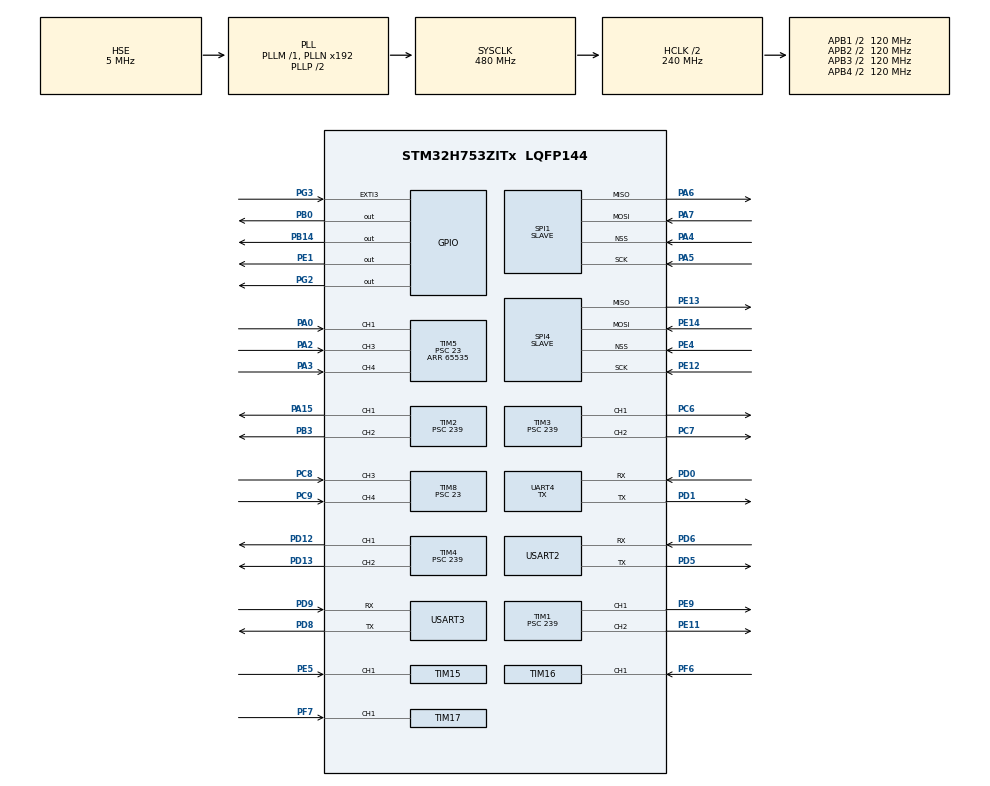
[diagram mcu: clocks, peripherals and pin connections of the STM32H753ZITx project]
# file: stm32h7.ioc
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CORTEX_M7.CPU_DCache=Disabled
CORTEX_M7.CPU_ICache=Disabled
CORTEX_M7.MPU_Control=__NULL
CORTEX_M7.default_mode_Activation=1
Dma.Request0=SPI1_RX
Dma.Request1=SPI1_TX
Dma.Request10=TIM16_CH1
Dma.Request11=TIM17_CH1
Dma.Request2=SPI4_RX
Dma.Request3=SPI4_TX
Dma.Request4=TIM5_CH1
Dma.Request5=TIM5_CH3
Dma.Request6=TIM5_CH4
Dma.Request7=TIM8_CH3
Dma.Request8=TIM8_CH4
Dma.Request9=TIM15_CH1
Dma.SPI1_RX.0.Direction=DMA_PERIPH_TO_MEMORY
Dma.SPI1_RX.0.EventEnable=DISABLE
Dma.SPI1_RX.0.FIFOMode=DMA_FIFOMODE_DISABLE
Dma.SPI1_RX.0.Instance=DMA1_Stream0
Dma.SPI1_RX.0.MemDataAlignment=DMA_MDATAALIGN_BYTE
Dma.SPI1_RX.0.MemInc=DMA_MINC_ENABLE
Dma.SPI1_RX.0.Mode=DMA_NORMAL
Dma.SPI1_RX.0.PeriphDataAlignment=DMA_PDATAALIGN_BYTE
Dma.SPI1_RX.0.PeriphInc=DMA_PINC_DISABLE
Dma.SPI1_RX.0.Polarity=HAL_DMAMUX_REQ_GEN_RISING
Dma.SPI1_RX.0.Priority=DMA_PRIORITY_LOW
Dma.SPI1_RX.0.RequestNumber=1
Dma.SPI1_RX.0.SignalID=NONE
Dma.SPI1_RX.0.SyncEnable=DISABLE
Dma.SPI1_RX.0.SyncPolarity=HAL_DMAMUX_SYNC_NO_EVENT
Dma.SPI1_RX.0.SyncRequestNumber=1
Dma.SPI1_RX.0.SyncSignalID=NONE
Dma.SPI1_TX.1.Direction=DMA_MEMORY_TO_PERIPH
Dma.SPI1_TX.1.EventEnable=DISABLE
Dma.SPI1_TX.1.FIFOMode=DMA_FIFOMODE_DISABLE
Dma.SPI1_TX.1.Instance=DMA1_Stream1
Dma.SPI1_TX.1.MemDataAlignment=DMA_MDATAALIGN_BYTE
Dma.SPI1_TX.1.MemInc=DMA_MINC_ENABLE
Dma.SPI1_TX.1.Mode=DMA_NORMAL
Dma.SPI1_TX.1.PeriphDataAlignment=DMA_PDATAALIGN_BYTE
Dma.SPI1_TX.1.PeriphInc=DMA_PINC_DISABLE
Dma.SPI1_TX.1.Polarity=HAL_DMAMUX_REQ_GEN_RISING
Dma.SPI1_TX.1.Priority=DMA_PRIORITY_LOW
Dma.SPI1_TX.1.RequestNumber=1
Dma.SPI1_TX.1.SignalID=NONE
Dma.SPI1_TX.1.SyncEnable=DISABLE
Dma.SPI1_TX.1.SyncPolarity=HAL_DMAMUX_SYNC_NO_EVENT
Dma.SPI1_TX.1.SyncRequestNumber=1
Dma.SPI1_TX.1.SyncSignalID=NONE
Dma.SPI4_RX.2.Direction=DMA_PERIPH_TO_MEMORY
Dma.SPI4_RX.2.EventEnable=DISABLE
Dma.SPI4_RX.2.FIFOMode=DMA_FIFOMODE_DISABLE
Dma.SPI4_RX.2.Instance=DMA1_Stream2
Dma.SPI4_RX.2.MemDataAlignment=DMA_MDATAALIGN_BYTE
Dma.SPI4_RX.2.MemInc=DMA_MINC_ENABLE
Dma.SPI4_RX.2.Mode=DMA_NORMAL
Dma.SPI4_RX.2.PeriphDataAlignment=DMA_PDATAALIGN_BYTE
Dma.SPI4_RX.2.PeriphInc=DMA_PINC_DISABLE
Dma.SPI4_RX.2.Polarity=HAL_DMAMUX_REQ_GEN_RISING
Dma.SPI4_RX.2.Priority=DMA_PRIORITY_LOW
Dma.SPI4_RX.2.RequestNumber=1
Dma.SPI4_RX.2.SignalID=NONE
Dma.SPI4_RX.2.SyncEnable=DISABLE
Dma.SPI4_RX.2.SyncPolarity=HAL_DMAMUX_SYNC_NO_EVENT
Dma.SPI4_RX.2.SyncRequestNumber=1
Dma.SPI4_RX.2.SyncSignalID=NONE
Dma.SPI4_TX.3.Direction=DMA_MEMORY_TO_PERIPH
Dma.SPI4_TX.3.EventEnable=DISABLE
Dma.SPI4_TX.3.FIFOMode=DMA_FIFOMODE_DISABLE
Dma.SPI4_TX.3.Instance=DMA1_Stream3
Dma.SPI4_TX.3.MemDataAlignment=DMA_MDATAALIGN_BYTE
Dma.SPI4_TX.3.MemInc=DMA_MINC_ENABLE
Dma.SPI4_TX.3.Mode=DMA_NORMAL
Dma.SPI4_TX.3.PeriphDataAlignment=DMA_PDATAALIGN_BYTE
Dma.SPI4_TX.3.PeriphInc=DMA_PINC_DISABLE
Dma.SPI4_TX.3.Polarity=HAL_DMAMUX_REQ_GEN_RISING
Dma.SPI4_TX.3.Priority=DMA_PRIORITY_LOW
Dma.SPI4_TX.3.RequestNumber=1
Dma.SPI4_TX.3.SignalID=NONE
Dma.SPI4_TX.3.SyncEnable=DISABLE
Dma.SPI4_TX.3.SyncPolarity=HAL_DMAMUX_SYNC_NO_EVENT
Dma.SPI4_TX.3.SyncRequestNumber=1
Dma.SPI4_TX.3.SyncSignalID=NONE
Dma.TIM15_CH1.9.Direction=DMA_PERIPH_TO_MEMORY
Dma.TIM15_CH1.9.EventEnable=DISABLE
Dma.TIM15_CH1.9.FIFOMode=DMA_FIFOMODE_DISABLE
Dma.TIM15_CH1.9.Instance=DMA2_Stream5
Dma.TIM15_CH1.9.MemDataAlignment=DMA_MDATAALIGN_WORD
Dma.TIM15_CH1.9.MemInc=DMA_MINC_ENABLE
Dma.TIM15_CH1.9.Mode=DMA_CIRCULAR
Dma.TIM15_CH1.9.PeriphDataAlignment=DMA_PDATAALIGN_WORD
Dma.TIM15_CH1.9.PeriphInc=DMA_PINC_DISABLE
Dma.TIM15_CH1.9.Polarity=HAL_DMAMUX_REQ_GEN_RISING
Dma.TIM15_CH1.9.Priority=DMA_PRIORITY_HIGH
Dma.TIM15_CH1.9.RequestNumber=1
Dma.TIM15_CH1.9.SignalID=NONE
Dma.TIM15_CH1.9.SyncEnable=DISABLE
Dma.TIM15_CH1.9.SyncPolarity=HAL_DMAMUX_SYNC_NO_EVENT
Dma.TIM15_CH1.9.SyncRequestNumber=1
Dma.TIM15_CH1.9.SyncSignalID=NONE
Dma.TIM16_CH1.10.Direction=DMA_PERIPH_TO_MEMORY
Dma.TIM16_CH1.10.EventEnable=DISABLE
Dma.TIM16_CH1.10.FIFOMode=DMA_FIFOMODE_DISABLE
Dma.TIM16_CH1.10.Instance=DMA2_Stream6
Dma.TIM16_CH1.10.MemDataAlignment=DMA_MDATAALIGN_WORD
Dma.TIM16_CH1.10.MemInc=DMA_MINC_ENABLE
Dma.TIM16_CH1.10.Mode=DMA_CIRCULAR
Dma.TIM16_CH1.10.PeriphDataAlignment=DMA_PDATAALIGN_WORD
Dma.TIM16_CH1.10.PeriphInc=DMA_PINC_DISABLE
Dma.TIM16_CH1.10.Polarity=HAL_DMAMUX_REQ_GEN_RISING
Dma.TIM16_CH1.10.Priority=DMA_PRIORITY_HIGH
Dma.TIM16_CH1.10.RequestNumber=1
Dma.TIM16_CH1.10.SignalID=NONE
Dma.TIM16_CH1.10.SyncEnable=DISABLE
Dma.TIM16_CH1.10.SyncPolarity=HAL_DMAMUX_SYNC_NO_EVENT
Dma.TIM16_CH1.10.SyncRequestNumber=1
Dma.TIM16_CH1.10.SyncSignalID=NONE
Dma.TIM17_CH1.11.Direction=DMA_PERIPH_TO_MEMORY
Dma.TIM17_CH1.11.EventEnable=DISABLE
Dma.TIM17_CH1.11.FIFOMode=DMA_FIFOMODE_DISABLE
Dma.TIM17_CH1.11.Instance=DMA2_Stream7
Dma.TIM17_CH1.11.MemDataAlignment=DMA_MDATAALIGN_WORD
Dma.TIM17_CH1.11.MemInc=DMA_MINC_ENABLE
Dma.TIM17_CH1.11.Mode=DMA_CIRCULAR
Dma.TIM17_CH1.11.PeriphDataAlignment=DMA_PDATAALIGN_WORD
Dma.TIM17_CH1.11.PeriphInc=DMA_PINC_DISABLE
Dma.TIM17_CH1.11.Polarity=HAL_DMAMUX_REQ_GEN_RISING
Dma.TIM17_CH1.11.Priority=DMA_PRIORITY_HIGH
Dma.TIM17_CH1.11.RequestNumber=1
Dma.TIM17_CH1.11.SignalID=NONE
Dma.TIM17_CH1.11.SyncEnable=DISABLE
Dma.TIM17_CH1.11.SyncPolarity=HAL_DMAMUX_SYNC_NO_EVENT
Dma.TIM17_CH1.11.SyncRequestNumber=1
Dma.TIM17_CH1.11.SyncSignalID=NONE
Dma.TIM5_CH1.4.Direction=DMA_PERIPH_TO_MEMORY
Dma.TIM5_CH1.4.EventEnable=DISABLE
Dma.TIM5_CH1.4.FIFOMode=DMA_FIFOMODE_DISABLE
Dma.TIM5_CH1.4.Instance=DMA2_Stream0
Dma.TIM5_CH1.4.MemDataAlignment=DMA_MDATAALIGN_WORD
Dma.TIM5_CH1.4.MemInc=DMA_MINC_ENABLE
Dma.TIM5_CH1.4.Mode=DMA_CIRCULAR
Dma.TIM5_CH1.4.PeriphDataAlignment=DMA_PDATAALIGN_WORD
Dma.TIM5_CH1.4.PeriphInc=DMA_PINC_DISABLE
Dma.TIM5_CH1.4.Polarity=HAL_DMAMUX_REQ_GEN_RISING
Dma.TIM5_CH1.4.Priority=DMA_PRIORITY_HIGH
Dma.TIM5_CH1.4.RequestNumber=1
Dma.TIM5_CH1.4.SignalID=NONE
Dma.TIM5_CH1.4.SyncEnable=DISABLE
Dma.TIM5_CH1.4.SyncPolarity=HAL_DMAMUX_SYNC_NO_EVENT
Dma.TIM5_CH1.4.SyncRequestNumber=1
Dma.TIM5_CH1.4.SyncSignalID=NONE
Dma.TIM5_CH3.5.Direction=DMA_PERIPH_TO_MEMORY
Dma.TIM5_CH3.5.EventEnable=DISABLE
Dma.TIM5_CH3.5.FIFOMode=DMA_FIFOMODE_DISABLE
Dma.TIM5_CH3.5.Instance=DMA2_Stream1
Dma.TIM5_CH3.5.MemDataAlignment=DMA_MDATAALIGN_WORD
Dma.TIM5_CH3.5.MemInc=DMA_MINC_ENABLE
Dma.TIM5_CH3.5.Mode=DMA_CIRCULAR
Dma.TIM5_CH3.5.PeriphDataAlignment=DMA_PDATAALIGN_WORD
Dma.TIM5_CH3.5.PeriphInc=DMA_PINC_DISABLE
Dma.TIM5_CH3.5.Polarity=HAL_DMAMUX_REQ_GEN_RISING
Dma.TIM5_CH3.5.Priority=DMA_PRIORITY_HIGH
Dma.TIM5_CH3.5.RequestNumber=1
Dma.TIM5_CH3.5.SignalID=NONE
Dma.TIM5_CH3.5.SyncEnable=DISABLE
Dma.TIM5_CH3.5.SyncPolarity=HAL_DMAMUX_SYNC_NO_EVENT
Dma.TIM5_CH3.5.SyncRequestNumber=1
Dma.TIM5_CH3.5.SyncSignalID=NONE
Dma.TIM5_CH4.6.Direction=DMA_PERIPH_TO_MEMORY
Dma.TIM5_CH4.6.EventEnable=DISABLE
Dma.TIM5_CH4.6.FIFOMode=DMA_FIFOMODE_DISABLE
Dma.TIM5_CH4.6.Instance=DMA2_Stream2
Dma.TIM5_CH4.6.MemDataAlignment=DMA_MDATAALIGN_WORD
Dma.TIM5_CH4.6.MemInc=DMA_MINC_ENABLE
Dma.TIM5_CH4.6.Mode=DMA_CIRCULAR
Dma.TIM5_CH4.6.PeriphDataAlignment=DMA_PDATAALIGN_WORD
Dma.TIM5_CH4.6.PeriphInc=DMA_PINC_DISABLE
Dma.TIM5_CH4.6.Polarity=HAL_DMAMUX_REQ_GEN_RISING
Dma.TIM5_CH4.6.Priority=DMA_PRIORITY_HIGH
Dma.TIM5_CH4.6.RequestNumber=1
Dma.TIM5_CH4.6.SignalID=NONE
Dma.TIM5_CH4.6.SyncEnable=DISABLE
Dma.TIM5_CH4.6.SyncPolarity=HAL_DMAMUX_SYNC_NO_EVENT
Dma.TIM5_CH4.6.SyncRequestNumber=1
Dma.TIM5_CH4.6.SyncSignalID=NONE
Dma.TIM8_CH3.7.Direction=DMA_PERIPH_TO_MEMORY
Dma.TIM8_CH3.7.EventEnable=DISABLE
Dma.TIM8_CH3.7.FIFOMode=DMA_FIFOMODE_DISABLE
Dma.TIM8_CH3.7.Instance=DMA2_Stream3
Dma.TIM8_CH3.7.MemDataAlignment=DMA_MDATAALIGN_WORD
Dma.TIM8_CH3.7.MemInc=DMA_MINC_ENABLE
Dma.TIM8_CH3.7.Mode=DMA_CIRCULAR
Dma.TIM8_CH3.7.PeriphDataAlignment=DMA_PDATAALIGN_WORD
Dma.TIM8_CH3.7.PeriphInc=DMA_PINC_DISABLE
Dma.TIM8_CH3.7.Polarity=HAL_DMAMUX_REQ_GEN_RISING
Dma.TIM8_CH3.7.Priority=DMA_PRIORITY_HIGH
Dma.TIM8_CH3.7.RequestNumber=1
Dma.TIM8_CH3.7.SignalID=NONE
Dma.TIM8_CH3.7.SyncEnable=DISABLE
Dma.TIM8_CH3.7.SyncPolarity=HAL_DMAMUX_SYNC_NO_EVENT
Dma.TIM8_CH3.7.SyncRequestNumber=1
Dma.TIM8_CH3.7.SyncSignalID=NONE
Dma.TIM8_CH4.8.Direction=DMA_PERIPH_TO_MEMORY
Dma.TIM8_CH4.8.EventEnable=DISABLE
Dma.TIM8_CH4.8.FIFOMode=DMA_FIFOMODE_DISABLE
Dma.TIM8_CH4.8.Instance=DMA2_Stream4
Dma.TIM8_CH4.8.MemDataAlignment=DMA_MDATAALIGN_WORD
Dma.TIM8_CH4.8.MemInc=DMA_MINC_ENABLE
Dma.TIM8_CH4.8.Mode=DMA_CIRCULAR
Dma.TIM8_CH4.8.PeriphDataAlignment=DMA_PDATAALIGN_WORD
Dma.TIM8_CH4.8.PeriphInc=DMA_PINC_DISABLE
Dma.TIM8_CH4.8.Polarity=HAL_DMAMUX_REQ_GEN_RISING
Dma.TIM8_CH4.8.Priority=DMA_PRIORITY_HIGH
Dma.TIM8_CH4.8.RequestNumber=1
Dma.TIM8_CH4.8.SignalID=NONE
Dma.TIM8_CH4.8.SyncEnable=DISABLE
Dma.TIM8_CH4.8.SyncPolarity=HAL_DMAMUX_SYNC_NO_EVENT
Dma.TIM8_CH4.8.SyncRequestNumber=1
Dma.TIM8_CH4.8.SyncSignalID=NONE
Mcu.Family=STM32H7
Mcu.Name=STM32H753ZITx
Mcu.Package=LQFP144
NUCLEO-H753ZI.BUTTON=0
NUCLEO-H753ZI.VCP=false
NVIC.DMA1_Stream0_IRQn=true\:0\:0\:false\:false\:true\:false\:true\:true
NVIC.DMA1_Stream1_IRQn=true\:0\:0\:false\:false\:true\:false\:true\:true
NVIC.DMA1_Stream2_IRQn=true\:6\:0\:true\:false\:true\:false\:true\:true
NVIC.DMA1_Stream3_IRQn=true\:6\:0\:true\:false\:true\:false\:true\:true
NVIC.DMA2_Stream0_IRQn=true\:0\:0\:false\:false\:true\:false\:true\:true
NVIC.DMA2_Stream1_IRQn=true\:0\:0\:false\:false\:true\:false\:true\:true
NVIC.DMA2_Stream2_IRQn=true\:0\:0\:false\:false\:true\:false\:true\:true
NVIC.DMA2_Stream3_IRQn=true\:0\:0\:false\:false\:true\:false\:true\:true
NVIC.DMA2_Stream4_IRQn=true\:0\:0\:false\:false\:true\:false\:true\:true
NVIC.DMA2_Stream5_IRQn=true\:0\:0\:false\:false\:true\:false\:true\:true
NVIC.DMA2_Stream6_IRQn=true\:0\:0\:false\:false\:true\:false\:true\:true
NVIC.DMA2_Stream7_IRQn=true\:0\:0\:false\:false\:true\:false\:true\:true
NVIC.EXTI3_IRQn=true\:6\:0\:true\:false\:true\:true\:true\:true
NVIC.PriorityGroup=NVIC_PRIORITYGROUP_4
NVIC.SPI1_IRQn=true\:0\:0\:false\:false\:true\:false\:true\:true
NVIC.SPI4_IRQn=true\:6\:0\:true\:false\:true\:false\:true\:true
NVIC.TIM15_IRQn=true\:0\:0\:false\:false\:true\:true\:true\:true
NVIC.TIM16_IRQn=true\:0\:0\:false\:false\:true\:true\:true\:true
NVIC.TIM17_IRQn=true\:0\:0\:false\:false\:true\:true\:true\:true
NVIC.TIM1_CC_IRQn=true\:0\:0\:false\:false\:true\:true\:true\:true
NVIC.TIM2_IRQn=true\:0\:0\:false\:false\:true\:true\:true\:true
NVIC.TIM3_IRQn=true\:0\:0\:false\:false\:true\:true\:true\:true
NVIC.TIM4_IRQn=true\:0\:0\:false\:false\:true\:true\:true\:true
NVIC.TIM5_IRQn=true\:0\:0\:false\:false\:true\:true\:true\:true
NVIC.TIM6_DAC_IRQn=true\:6\:0\:true\:false\:true\:true\:true\:true
PA0.Signal=S_TIM5_CH1
PA15\ (JTDI).Signal=S_TIM2_CH1_ETR
PA2.Signal=S_TIM5_CH3
PA3.Signal=S_TIM5_CH4
PA4.Mode=NSS_Signal_Hard_Input
PA4.Signal=SPI1_NSS
PA5.Mode=Full_Duplex_Slave
PA5.Signal=SPI1_SCK
PA6.Mode=Full_Duplex_Slave
PA6.Signal=SPI1_MISO
PA7.Mode=Full_Duplex_Slave
PA7.Signal=SPI1_MOSI
PB0.Signal=GPIO_Output
PB14.Signal=GPIO_Output
PB3\ (JTDO/TRACESWO).Signal=S_TIM2_CH2
PC14-OSC32_IN\ (OSC32_IN).Signal=RCC_OSC32_IN
PC15-OSC32_OUT\ (OSC32_OUT).Signal=RCC_OSC32_OUT
PC6.Signal=S_TIM3_CH1
PC7.Signal=S_TIM3_CH2
PC8.Signal=S_TIM8_CH3
PC9.Signal=S_TIM8_CH4
PD0.Mode=Asynchronous
PD0.Signal=UART4_RX
PD1.Mode=Asynchronous
PD1.Signal=UART4_TX
PD12.Signal=S_TIM4_CH1
PD13.Signal=S_TIM4_CH2
PD5.Mode=Asynchronous
PD5.Signal=USART2_TX
PD6.Mode=Asynchronous
PD6.Signal=USART2_RX
PD8.Mode=Asynchronous
PD8.Signal=USART3_TX
PD9.Mode=Asynchronous
PD9.Signal=USART3_RX
PE1.Signal=GPIO_Output
PE11.Signal=S_TIM1_CH2
PE12.Mode=Full_Duplex_Slave
PE12.Signal=SPI4_SCK
PE13.Mode=Full_Duplex_Slave
PE13.Signal=SPI4_MISO
PE14.Mode=Full_Duplex_Slave
PE14.Signal=SPI4_MOSI
PE4.Mode=NSS_Signal_Hard_Input
PE4.Signal=SPI4_NSS
PE5.Signal=S_TIM15_CH1
PE9.Signal=S_TIM1_CH1
PF6.Signal=S_TIM16_CH1
PF7.Signal=S_TIM17_CH1
PG2.PinState=GPIO_PIN_SET
PG2.Signal=GPIO_Output
PG3.GPIO_ModeDefaultEXTI=GPIO_MODE_IT_RISING_FALLING
PG3.GPIO_PuPd=GPIO_PULLUP
PG3.Signal=GPXTI3
PH0-OSC_IN\ (PH0).Mode=HSE-External-Clock-Source
PH0-OSC_IN\ (PH0).Signal=RCC_OSC_IN
PH1-OSC_OUT\ (PH1).Signal=RCC_OSC_OUT
ProjectManager.HeapSize=0x200
ProjectManager.StackSize=0x400
ProjectManager.TargetToolchain=STM32CubeIDE
RCC.ADCFreq_Value=16125000
RCC.APB1Freq_Value=120000000
RCC.APB2Freq_Value=120000000
RCC.APB3Freq_Value=120000000
RCC.APB4Freq_Value=120000000
RCC.CortexFreq_Value=480000000
RCC.D1PPRE=RCC_APB3_DIV2
RCC.D2PPRE1=RCC_APB1_DIV2
RCC.D2PPRE2=RCC_APB2_DIV2
RCC.D3PPRE=RCC_APB4_DIV2
RCC.DIVM1=1
RCC.DIVN1=192
RCC.DIVQ1=5
RCC.FLatency=FLASH_LATENCY_4
RCC.HCLKFreq_Value=240000000
RCC.HPRE=RCC_HCLK_DIV2
RCC.HSE_VALUE=5000000
RCC.PLL2FRACN=0
RCC.PLL3FRACN=0
RCC.PLLFRACN=0
RCC.PLLSourceVirtual=RCC_PLLSOURCE_HSE
RCC.SYSCLKFreq_VALUE=480000000
RCC.SYSCLKSource=RCC_SYSCLKSOURCE_PLLCLK
RCC.USBFreq_Value=192000000
SH.S_TIM15_CH1.0=TIM15_CH1,Input_Capture1_from_TI1
SH.S_TIM16_CH1.0=TIM16_CH1,Input_Capture1_from_TI1
SH.S_TIM17_CH1.0=TIM17_CH1,Input_Capture1_from_TI1
SH.S_TIM1_CH1.0=TIM1_CH1,Output Compare1 CH1
SH.S_TIM1_CH2.0=TIM1_CH2,Output Compare2 CH2
SH.S_TIM2_CH1_ETR.0=TIM2_CH1,Output Compare1 CH1
SH.S_TIM2_CH2.0=TIM2_CH2,Output Compare2 CH2
SH.S_TIM3_CH1.0=TIM3_CH1,Output Compare1 CH1
SH.S_TIM3_CH2.0=TIM3_CH2,Output Compare2 CH2
SH.S_TIM4_CH1.0=TIM4_CH1,Output Compare1 CH1
SH.S_TIM4_CH2.0=TIM4_CH2,Output Compare2 CH2
SH.S_TIM5_CH1.0=TIM5_CH1,Input_Capture1_from_TI1
SH.S_TIM5_CH3.0=TIM5_CH3,Input_Capture3_from_TI3
SH.S_TIM5_CH4.0=TIM5_CH4,Input_Capture4_from_TI4
SH.S_TIM8_CH3.0=TIM8_CH3,Input_Capture3_from_TI3
SH.S_TIM8_CH4.0=TIM8_CH4,Input_Capture4_from_TI4
SPI1.DataSize=SPI_DATASIZE_8BIT
SPI1.Direction=SPI_DIRECTION_2LINES
SPI1.Mode=SPI_MODE_SLAVE
SPI1.VirtualNSS=VM_NSSHARD
SPI1.VirtualType=VM_SLAVE
SPI4.CLKPhase=SPI_PHASE_2EDGE
SPI4.CLKPolarity=SPI_POLARITY_HIGH
SPI4.DataSize=SPI_DATASIZE_8BIT
SPI4.Direction=SPI_DIRECTION_2LINES
SPI4.Mode=SPI_MODE_SLAVE
SPI4.VirtualNSS=VM_NSSHARD
SPI4.VirtualType=VM_SLAVE
TIM1.Channel-Output\ Compare1\ CH1=TIM_CHANNEL_1
TIM1.Channel-Output\ Compare2\ CH2=TIM_CHANNEL_2
TIM1.OCMode_1=TIM_OCMODE_TOGGLE
TIM1.OCMode_2=TIM_OCMODE_TOGGLE
TIM1.Prescaler=239
TIM1.Pulse-Output\ Compare1\ CH1=1000
TIM1.Pulse-Output\ Compare2\ CH2=1000
TIM15.Channel-Input_Capture1_from_TI1=TIM_CHANNEL_1
TIM15.ICFilter_CH1=15
TIM15.ICPolarity_CH1=TIM_INPUTCHANNELPOLARITY_BOTHEDGE
TIM15.Prescaler=23
TIM16.Channel=TIM_CHANNEL_1
TIM16.ICFilter_CH1=15
TIM16.ICPolarity_CH1=TIM_INPUTCHANNELPOLARITY_BOTHEDGE
TIM16.Prescaler=23
TIM17.Channel=TIM_CHANNEL_1
TIM17.ICFilter_CH1=15
TIM17.ICPolarity_CH1=TIM_INPUTCHANNELPOLARITY_BOTHEDGE
TIM17.Prescaler=23
TIM2.Channel-Output\ Compare1\ CH1=TIM_CHANNEL_1
TIM2.Channel-Output\ Compare2\ CH2=TIM_CHANNEL_2
TIM2.OCMode_1=TIM_OCMODE_TOGGLE
TIM2.OCMode_2=TIM_OCMODE_TOGGLE
TIM2.Period=65535
TIM2.Prescaler=239
TIM2.Pulse-Output\ Compare1\ CH1=1000
TIM2.Pulse-Output\ Compare2\ CH2=1000
TIM3.Channel-Output\ Compare1\ CH1=TIM_CHANNEL_1
TIM3.Channel-Output\ Compare2\ CH2=TIM_CHANNEL_2
TIM3.OCMode_1=TIM_OCMODE_TOGGLE
TIM3.OCMode_2=TIM_OCMODE_TOGGLE
TIM3.Prescaler=239
TIM3.Pulse-Output\ Compare1\ CH1=1000
TIM3.Pulse-Output\ Compare2\ CH2=1000
TIM4.Channel-Output\ Compare1\ CH1=TIM_CHANNEL_1
TIM4.Channel-Output\ Compare2\ CH2=TIM_CHANNEL_2
TIM4.OCMode_1=TIM_OCMODE_TOGGLE
TIM4.OCMode_2=TIM_OCMODE_TOGGLE
TIM4.Prescaler=239
TIM4.Pulse-Output\ Compare1\ CH1=1000
TIM4.Pulse-Output\ Compare2\ CH2=1000
TIM5.Channel-Input_Capture1_from_TI1=TIM_CHANNEL_1
TIM5.Channel-Input_Capture3_from_TI3=TIM_CHANNEL_3
TIM5.Channel-Input_Capture4_from_TI4=TIM_CHANNEL_4
TIM5.ICFilter_CH1=15
TIM5.ICFilter_CH3=15
TIM5.ICFilter_CH4=15
TIM5.ICPolarity_CH1=TIM_INPUTCHANNELPOLARITY_BOTHEDGE
TIM5.ICPolarity_CH3=TIM_INPUTCHANNELPOLARITY_BOTHEDGE
TIM5.ICPolarity_CH4=TIM_INPUTCHANNELPOLARITY_BOTHEDGE
TIM5.Period=65535
TIM5.Prescaler=23
TIM6.Period=99
TIM6.Prescaler=239
TIM8.Channel-Input_Capture3_from_TI3=TIM_CHANNEL_3
TIM8.Channel-Input_Capture4_from_TI4=TIM_CHANNEL_4
TIM8.ICFilter_CH3=15
TIM8.ICFilter_CH4=15
TIM8.ICPolarity_CH3=TIM_INPUTCHANNELPOLARITY_BOTHEDGE
TIM8.ICPolarity_CH4=TIM_INPUTCHANNELPOLARITY_BOTHEDGE
TIM8.Prescaler=23
UART4.Mode=MODE_TX
USART2.VirtualMode-Asynchronous=VM_ASYNC
USART3.VirtualMode-Asynchronous=VM_ASYNC
VP_MEMORYMAP_VS_MEMORYMAP.Mode=CurAppReg
VP_NUCLEO-H753ZI_VS_BSP_COMMON.Mode=COMMON
VP_TIM16_VS_ClockSourceINT.Mode=Enable_Timer
VP_TIM17_VS_ClockSourceINT.Mode=Enable_Timer
VP_TIM6_VS_ClockSourceINT.Mode=Enable_Timer
VP_TIM8_VS_ClockSourceINT.Mode=Internal
board=NUCLEO-H753ZI

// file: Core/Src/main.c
/* USER CODE BEGIN Header */
/**
  ******************************************************************************
  * @file           : main.c
  * @brief          : Main program body
  ******************************************************************************
  */
/* USER CODE END Header */
#include "main.h"
#include "dma.h"
#include "spi.h"
#include "tim.h"
#include "usart.h"
#include "gpio.h"

/* USER CODE BEGIN Includes */
#include "hil_protocol.h"
#include "spi1_handler.h"
#include "encoder_gen.h"
#include "pwm_capture.h"
#include "uart_relay.h"         /* +++ NEW */
#include "bno_emu_port.h"
#include "s06_log.h"
#include "s06_load.h"
#include "ibus_gen_port.h"
/* Firmware id (#fw, Liam 09/11, CODE; STATUS_CODE L61 b): fw_id_gen.h is written by the CubeIDE pre-build
 * step (stm32h7/scripts/fw_id.py), not in git. A build without it (arm-gcc check, no pre-build) prints
 * sha=unknown dirty=1, which hil_bench_session --expect-h7 refuses. */
#if defined(__has_include)
#  if __has_include("fw_id_gen.h")
#    include "fw_id_gen.h"
#  endif
#endif
#ifndef FW_GIT_SHA
#  define FW_GIT_SHA   "unknown"
#  define FW_GIT_DIRTY 1
#  define FW_ENV       "none"
#endif
#include <stdio.h>
#include <string.h>             /* memcpy: MISO v6 id (RS-4 P1) */
/* USER CODE END Includes */

/* USER CODE BEGIN PD */
/* SPI1 link watchdog (27/10): no frame from the RPi5 for this long -> all
 * wheel omegas set to 0 so EncoderGen stops instead of holding the last
 * speed. The ESP32 drops its setpoint to 0 on its own after 200 ms without
 * a relay packet (AGV_MECANUM traj_receiver.c, TRAJ_TIMEOUT_MS). */
#define SPI_LINK_TIMEOUT_MS  50u
/* While the link is down after having been up: SPI1 restart requested every
 * this many ms (08/11, bug HIL-SPI1-SCK-GLITCH). Before, one request at the
 * up -> down transition only, so a restart that returned HAL_OK but never
 * completed left the link dead until a reset (CLOSED_LOOP/2026-11-08_run02,
 * 01:48). Harmless when the Pi has stopped: the restart runs only while NSS
 * is high. */
#define SPI_DOWN_RESTART_MS  200u
/* USER CODE END PD */

/* USER CODE BEGIN PV */
static HIL_State_t   g_state;
static HIL_TrajRef_t g_traj;   /* +++ NEW */
static HIL_Output_t  g_output;
/* USER CODE END PV */

void SystemClock_Config(void);

/* USER CODE BEGIN 0 */
/* Debug print (S06 V4, W16): blocking during init, so a boot hang still shows
 * the last line; from the main loop on, through a 4 KB ring sent by the
 * USART3 TXE interrupt, so the main loop never waits for the UART (before:
 * HAL_UART_Transmit with 100 ms timeout, about 11 lines every 0.5 s at
 * 115200 baud). Ring full: characters dropped and counted (S06log line). */
#define _DBG_TX_LEN 4096u                       /* power of two */
static uint8_t           _dbg_tx[_DBG_TX_LEN];
static volatile uint32_t _dbg_h, _dbg_t;
static volatile uint32_t _dbg_drop;
static uint8_t           _dbg_async;

int _write(int file, char *ptr, int len)
{
    (void)file;
    if (!_dbg_async) {
        HAL_UART_Transmit(&huart3, (uint8_t *)ptr, (uint16_t)len, 100);
        return len;
    }
    for (int i = 0; i < len; i++) {             /* main loop only: one producer */
        uint32_t n = (_dbg_h + 1u) & (_DBG_TX_LEN - 1u);
        if (n == _dbg_t) { _dbg_drop += (uint32_t)(len - i); break; }
        _dbg_tx[_dbg_h] = (uint8_t)ptr[i];
        _dbg_h = n;
    }
    SET_BIT(USART3->CR1, USART_CR1_TXEIE_TXFNFIE);
    return len;
}

/* Not in stm32h7xx_it.c: the USART3 interrupt is off in the .ioc. If it is
 * ever enabled there, CubeMX generates a second handler: remove this one. */
void USART3_IRQHandler(void)
{
    S06_IRQ_ENTER();
    if (READ_BIT(USART3->ISR, USART_ISR_TXE_TXFNF)) {
        if (_dbg_t != _dbg_h) {
            USART3->TDR = _dbg_tx[_dbg_t];
            _dbg_t = (_dbg_t + 1u) & (_DBG_TX_LEN - 1u);
        } else {
            CLEAR_BIT(USART3->CR1, USART_CR1_TXEIE_TXFNFIE);
            if (_dbg_t != _dbg_h)               /* main loop wrote meanwhile */
                SET_BIT(USART3->CR1, USART_CR1_TXEIE_TXFNFIE);
        }
    }
    S06_IRQ_EXIT(S06_IRQ_USART3);
}

void HAL_SPI_TxRxCpltCallback(SPI_HandleTypeDef *hspi)
{
    SPI1_Callback(hspi);
}

void HAL_SPI_ErrorCallback(SPI_HandleTypeDef *hspi)
{
    SPI1_ErrorCallback(hspi);
    BnoPort_SpiError(hspi);
}

/* BNO085 emulator (G2) and iBUS generator: TIM6 10 kHz tick; RST pin PG3 (EXTI3) */
void HAL_TIM_PeriodElapsedCallback(TIM_HandleTypeDef *htim)
{
    if (htim->Instance == TIM6) {
        IbusPort_Tick();
        BnoPort_Tick();
    }
}

void HAL_GPIO_EXTI_Callback(uint16_t GPIO_Pin)
{
    BnoPort_ExtiCallback(GPIO_Pin);
}

void HAL_TIM_OC_DelayElapsedCallback(TIM_HandleTypeDef *htim)
{
    EncoderGen_OC_Callback(htim);
}

#ifdef ENCODER_GEN_HAS_EVENT_HOOK
/* S06 T3b (Y5, V2-6): one log record per _start_wheel / _stop call: wheel u8,
 * timer CNT at the call u16, calls of that kind on that wheel u32, CYCCNT u32,
 * H7 frame count u16 (little-endian). The Pi compares the calls with the
 * scheduled starts and stops and reports the start phases. Needs the
 * EncoderGen with the event hook (feat/encgen-events); without it no record. */
static void _s06_enc_event(uint8_t wheel, uint8_t ev, uint16_t cnt, uint32_t n)
{
    uint8_t p[13];
    p[0] = wheel;
    s06_put16(p + 1, cnt);
    s06_put32(p + 3, n);
    s06_put32(p + 7, DWT->CYCCNT);
    s06_put16(p + 11, (uint16_t)SPI1_GetFrameCount());
    S06Log_Push(ev == ENC_EV_START ? S06_REC_ENC_START : S06_REC_ENC_STOP, p, sizeof p);
}
#endif

/* Debug block, one line per main-loop pass (08/11, STATUS_CODE L51). Before,
 * the whole 0.5 s block (and the PWMdma line every 2 s, the T10 report every
 * 10 s) was formatted in ONE pass: the loop missed 1-5 SPI1 frames each time
 * (reply in frame N+3..N+7 instead of N+2, frames never applied:
 * CLOSED_LOOP/2026-11-08_run08). Now every counter is copied once when the
 * block is due (_dbg_snap_t), then each pass prints at most one line (the
 * PWMdma line is built in sections, one per pass) and only when no SPI1 frame
 * is waiting. Lines and their order are unchanged, plus the "Loop:" line. */
typedef struct {
    EncoderGenDebug_t  enc[ENC_NUM_WHEELS];
    float              duty[4];
    uint8_t            pwm_line;                 /* PWMdma line in this block */
    uint32_t           pwm_es[PWM_NUM_CHANNELS];
    PWMCapture_Stats_t ps;
    uint32_t           win_t, svc_t, wh[4], wmin_t;
    uint32_t           relay_sent, relay_dropped;
    HIL_TrajRef_t      traj;
    uint8_t            link_up;
    uint32_t           n_link_lost;
    SPI1_Stats_t       ss;
    uint32_t           frames_per_s;
    uint32_t           svc_min, svc_max, n_down_restarts, cyc_per_us;
    uint32_t           n_applied, n_skipped, age_max_us;
    uint32_t           ap_min, ap_max, n_stage, n_pre_sat, n_dur_sat;   /* L100 Apply line */
    uint32_t           cb_min, cb_max, crc_min, crc_max, set_min, set_max;   /* RS-4 P1 Frm6 line */
    uint32_t           s06_pushed, s06_dropped, dbg_drop;
    BnoPort_Stats_t    bs;
    uint8_t            ibus_new;
    ibus_gen_window_t  iw;
    uint8_t            fw_line;                  /* #fw line in this block (every 10 s) */
    /* main-loop passes since the last block (L39): longest pass, longest
     * pass that did debug work (copy or one line), passes over 500 us and
     * over 1 ms, passes; DWT cycles, preemption by interrupts included */
    uint32_t           lp_max, lp_prn_max, lp_n500, lp_n1ms, lp_n;
} _dbg_snap_t;

enum {
    DS_W1 = 0, DS_PWM = 4, DS_DMA0 = 5, DS_DMA_LAST = 13,   /* PWMdma: 9 sections */
    DS_RELAY, DS_LINK, DS_SPIFIX, DS_LOOP, DS_FRAME, DS_APPLY, DS_FRM6, DS_S06LOG, DS_BNO1, DS_BNO2,
    DS_FW, DS_IBUS, DS_END
};

static _dbg_snap_t _ds;
static int         _ds_step = -1;                /* -1: nothing to print */
static char        _ds_pl[320];
static int         _ds_pn;
static uint32_t    _lp_max, _lp_prn_max, _lp_n500, _lp_n1ms, _lp_n;

#define _PL(...) do { if (_ds_pn < (int)sizeof(_ds_pl))                                 \
        _ds_pn += snprintf(_ds_pl + _ds_pn, sizeof(_ds_pl) - (size_t)_ds_pn, __VA_ARGS__); \
    } while (0)

/* us with one decimal from DWT cycles */
#define _US10(c) ((unsigned long)((uint64_t)(c) * 10u / _ds.cyc_per_us))

static void _dbg_print_next(void)
{
    const _dbg_snap_t *d = &_ds;
    int s = _ds_step;
    if (s == DS_FW && !d->fw_line)
        s = DS_IBUS;                             /* no #fw line in this block: the IBUS step, same pass */
    if (s >= DS_W1 && s < DS_PWM) {
        int i = s - DS_W1;
        printf("W%d: omega=%6.2f dir=%2d hp=%5lu meas=%7.2fHz exp=%7.2fHz\r\n",
               i + 1,
               (double)d->enc[i].omega_cmd, (int)d->enc[i].dir,
               (unsigned long)d->enc[i].half_period,
               (double)d->enc[i].measured_freq,
               (double)d->enc[i].expected_freq);
    } else if (s == DS_PWM) {
        printf("PWM: %.2f %.2f %.2f %.2f\r\n",
               (double)d->duty[0], (double)d->duty[1],
               (double)d->duty[2], (double)d->duty[3]);
        if (!d->pwm_line) s = DS_DMA_LAST;       /* no PWMdma line this block */
    } else if (s >= DS_DMA0 && s <= DS_DMA_LAST) {
        /* DMA capture counters (04/11), channel order RPWM FL FR RL RR,
         * LPWM FL FR RL RR: e/s = captures per second (about 40000 on a
         * channel with 20 kHz PWM, 0 when held), lost = overcapture flags,
         * lap = service gaps >= 5 ms (ring dropped, FL channel), fix = edge
         * type corrected by the pin anchor, bad = periods > 75 us skipped,
         * una = runs of edges with the edge type unknown >= 20 ms (duty held),
         * known = edge type known, act = DMA stream running, dmaerr = stream
         * did not start or found stopped, win / svc = largest anchor window
         * and largest PWMCapture_Service() time in us over the last 2 s
         * (Codex M23, Liam: measure on the board; window above about 7 us:
         * revisit the window step). Printed every 2 s (Codex M21). */
        switch (s - DS_DMA0) {
        case 0:
            _ds_pn = 0;
            _PL("PWMdma: e/s=");
            for (int i = 0; i < (int)PWM_NUM_CHANNELS; i++) _PL("%s%lu", i ? "," : "", (unsigned long)d->pwm_es[i]);
            break;
        case 1: for (int i = 0; i < (int)PWM_NUM_CHANNELS; i++) _PL("%s%lu", i ? "," : " lost=", (unsigned long)d->ps.lost[i]); break;
        case 2:
            _PL(" lap=%lu", (unsigned long)d->ps.lap[0]);
            for (int i = 0; i < (int)PWM_NUM_CHANNELS; i++) _PL("%s%lu", i ? "," : " fix=", (unsigned long)d->ps.parity_fix[i]);
            break;
        case 3: for (int i = 0; i < (int)PWM_NUM_CHANNELS; i++) _PL("%s%lu", i ? "," : " bad=", (unsigned long)d->ps.bad_period[i]); break;
        case 4: for (int i = 0; i < (int)PWM_NUM_CHANNELS; i++) _PL("%s%lu", i ? "," : " una=", (unsigned long)d->ps.unanchored[i]); break;
        case 5: for (int i = 0; i < (int)PWM_NUM_CHANNELS; i++) _PL("%s%u", i ? "" : " known=", (unsigned)d->ps.known[i]); break;
        case 6: for (int i = 0; i < (int)PWM_NUM_CHANNELS; i++) _PL("%s%u", i ? "" : " act=", (unsigned)d->ps.active[i]); break;
        case 7: for (int i = 0; i < (int)PWM_NUM_CHANNELS; i++) _PL("%s%lu", i ? "," : " dmaerr=", (unsigned long)d->ps.dma_err[i]); break;
        default:
            _PL(" win=%lu.%lu svc=%lu.%lu",
                (unsigned long)(d->win_t / 10u), (unsigned long)(d->win_t % 10u),
                (unsigned long)(d->svc_t / 10u), (unsigned long)(d->svc_t % 10u));
            /* DIAG 05/11: windows by length (<7 / 7-20 / 20-50 / >=50 us) and shortest window */
            _PL(" wh=%lu/%lu/%lu/%lu wmin=%lu.%lu",
                (unsigned long)d->wh[0], (unsigned long)d->wh[1], (unsigned long)d->wh[2], (unsigned long)d->wh[3],
                (unsigned long)(d->wmin_t / 10u), (unsigned long)(d->wmin_t % 10u));
            printf("%s\r\n", _ds_pl);
            break;
        }
    } else if (s == DS_RELAY) {
        printf("Relay: sent=%lu dropped=%lu  traj vx=%.2f vy=%.2f wz=%.2f\r\n",
               (unsigned long)d->relay_sent, (unsigned long)d->relay_dropped,
               (double)d->traj.vx_ref, (double)d->traj.vy_ref, (double)d->traj.wz_ref);
    } else if (s == DS_LINK) {
        printf("Link: %s lost=%lu  SPI frames=%lu/s err=%lu rearm=%lu last_err=0x%lx\r\n",
               d->link_up ? "up" : "down", (unsigned long)d->n_link_lost,
               (unsigned long)d->frames_per_s,
               (unsigned long)d->ss.errors, (unsigned long)d->ss.rearms,
               (unsigned long)d->ss.last_error);
    } else if (s == DS_SPIFIX) {
        /* 08/11 (bug HIL-SPI1-SCK-GLITCH): SPI1 found not armed (each one is
         * a lost frame; a run with stuck > 0 is not a main-number run),
         * failed restarts, restarts requested while down, and the shortest /
         * longest SPI1_Service() call over the last 0.5 s (L39) */
        printf("SPIfix: stuck=%lu stuck_err=0x%lx restart_fail=%lu down_req=%lu svc=%lu..%lu cyc (%lu cyc/us)\r\n",
               (unsigned long)d->ss.stuck, (unsigned long)d->ss.stuck_err,
               (unsigned long)d->ss.restart_fail, (unsigned long)d->n_down_restarts,
               (unsigned long)d->svc_min, (unsigned long)d->svc_max,
               (unsigned long)d->cyc_per_us);
    } else if (s == DS_LOOP) {
        /* 08/11 (L51, L39): main-loop pass times since the last block; a pass
         * over 1 ms can miss an SPI1 frame (one frame per ms) */
        printf("Loop: max=%lu.%lu us prn_max=%lu.%lu us over500us=%lu over1ms=%lu passes=%lu\r\n",
               _US10(d->lp_max) / 10u, _US10(d->lp_max) % 10u,
               _US10(d->lp_prn_max) / 10u, _US10(d->lp_prn_max) % 10u,
               (unsigned long)d->lp_n500, (unsigned long)d->lp_n1ms, (unsigned long)d->lp_n);
    } else if (s == DS_FRAME) {
        /* Frames the main loop did not read, and the NEW setpoint path:
         * seen = taken + replaced + dropped (+1 if one is pending) */
        printf("Frame: unread=%lu  new seen=%lu taken=%lu repl=%lu drop=%lu"
               "  applied=%lu skipped=%lu age_max=%luus\r\n",
               (unsigned long)d->ss.unread, (unsigned long)d->ss.new_seen,
               (unsigned long)d->ss.new_taken, (unsigned long)d->ss.new_replaced,
               (unsigned long)d->ss.new_dropped,
               (unsigned long)d->n_applied, (unsigned long)d->n_skipped,
               (unsigned long)d->age_max_us);
    } else if (s == DS_APPLY) {
        /* L100 (rule "H7 code with time limits", Codex RS4-R4-1, R4-2): the
         * window c_pre..c_post around the four EncoderGen_SetOmega calls of a
         * frame, shortest / longest over the last block (interrupts included),
         * windows the MISO could not hold since boot (pre >= 2047 us, dur >=
         * 124 us: the Pi refuses such a frame in a mapped range), replies staged
         * and replies replaced before the DMA took them (stage gaps) */
        printf("Apply: win=%lu.%lu..%lu.%lu us presat=%lu dursat=%lu staged=%lu reply_over=%lu\r\n",
               _US10(d->ap_min) / 10u, _US10(d->ap_min) % 10u,
               _US10(d->ap_max) / 10u, _US10(d->ap_max) % 10u,
               (unsigned long)d->n_pre_sat, (unsigned long)d->n_dur_sat,
               (unsigned long)d->n_stage, (unsigned long)d->ss.reply_over);
    } else if (s == DS_FRM6) {
        /* RS-4 P1 (48-byte frame, rule "H7 code with time limits"): shortest /
         * longest SPI1_Callback run (priority 0), MOSI checksum over 48 bytes
         * and SPI1_SetOutputEx (MISO v6) over the last block; first flash of
         * the 48-byte frame: separates "an interrupt landed in it" from "it is
         * slow by itself" */
        printf("Frm6: len=%u cb=%lu.%lu..%lu.%lu us crc=%lu.%lu..%lu.%lu us set=%lu.%lu..%lu.%lu us\r\n",
               (unsigned)SPI1_FRAME_LEN,
               _US10(d->cb_min) / 10u, _US10(d->cb_min) % 10u,
               _US10(d->cb_max) / 10u, _US10(d->cb_max) % 10u,
               _US10(d->crc_min) / 10u, _US10(d->crc_min) % 10u,
               _US10(d->crc_max) / 10u, _US10(d->crc_max) % 10u,
               _US10(d->set_min) / 10u, _US10(d->set_min) % 10u,
               _US10(d->set_max) / 10u, _US10(d->set_max) % 10u);
    } else if (s == DS_S06LOG) {
        printf("S06log: pushed=%lu dropped=%lu  print_drop=%lu\r\n",
               (unsigned long)d->s06_pushed, (unsigned long)d->s06_dropped,
               (unsigned long)d->dbg_drop);
    } else if (s == DS_BNO1) {
        /* BNO085 emulator (G2): host init (adv, prod id, set features),
         * transactions and reports per sensor (accel / gyro / game RV) */
        const BnoPort_Stats_t *bs = &d->bs;
        printf("BNO: st=%u rst=%lu adv=%lu pid=%lu sf=%lu gf=%lu rd=%lu empty=%lu wr=%lu col=%lu tmo=%lu\r\n",
               (unsigned)bs->state, (unsigned long)bs->core.resets,
               (unsigned long)bs->core.adverts, (unsigned long)bs->core.prod_id_reqs,
               (unsigned long)bs->core.set_features, (unsigned long)bs->core.get_features,
               (unsigned long)bs->core.reads, (unsigned long)bs->core.empty_reads,
               (unsigned long)bs->core.writes, (unsigned long)bs->core.collisions,
               (unsigned long)bs->core.int_timeouts);
    } else if (s == DS_BNO2) {
        const BnoPort_Stats_t *bs = &d->bs;
        printf("BNO: rpt=%lu/%lu/%lu per=%lu/%lu/%lu us ovr=%lu stale=%lu drop=%lu unk=%lu"
               " | xfer=%lu mism=%lu miss=%lu armf=%lu err=%lu max=%lu smp=%lu\r\n",
               (unsigned long)bs->reports[0], (unsigned long)bs->reports[1],
               (unsigned long)bs->reports[2],
               (unsigned long)bs->period_us[0], (unsigned long)bs->period_us[1],
               (unsigned long)bs->period_us[2],
               (unsigned long)bs->core.input_overruns, (unsigned long)bs->core.stale_skips,
               (unsigned long)bs->core.q_drops, (unsigned long)bs->core.unknown_cmds,
               (unsigned long)bs->xfers, (unsigned long)bs->arm_mismatch,
               (unsigned long)bs->missed_edge, (unsigned long)bs->arm_fail,
               (unsigned long)bs->spi_errors, (unsigned long)bs->max_clocked,
               (unsigned long)bs->samples);
    } else if (s == DS_FW) {
        /* firmware id (Liam 09/11, CODE): same text as the boot line, so a log that starts after the
         * boot still shows which build runs (hil_bench_session --expect-h7) */
        printf("#fw sha=%s dirty=%d env=%s\r\n", FW_GIT_SHA, (int)FW_GIT_DIRTY, FW_ENV);
    } else if (s == DS_IBUS) {
        /* iBUS 10 s summary (S06 T12 (b)): P = frame start to frame start
         * in us (DWT, real time), printed in ms with 0.01 ms; tgap = longest
         * time between two TIM6 ticks; once per closed window */
        if (d->ibus_new) {
            const ibus_gen_window_t *iw = &d->iw;
            /* I8: swa = frames started with SWA 2000 / frames, chg = SWA
             * changes between frames, now = SWA of the last frame started */
            printf("IBUS: win=%lu on=%lu frames=%lu P=%lu.%02lu..%lu.%02lu ms n=%lu late=%lu tgap=%lu us en=%lu total=%lu swa=%lu/%lu chg=%lu now=%lu\r\n",
                   (unsigned long)iw->window, (unsigned long)iw->enabled,
                   (unsigned long)iw->frames,
                   (unsigned long)(iw->p_min_us / 1000u), (unsigned long)((iw->p_min_us % 1000u) / 10u),
                   (unsigned long)(iw->p_max_us / 1000u), (unsigned long)((iw->p_max_us % 1000u) / 10u),
                   (unsigned long)iw->p_count, (unsigned long)iw->late_ticks,
                   (unsigned long)iw->tick_gap_max_us,
                   (unsigned long)iw->enables, (unsigned long)iw->total_frames,
                   (unsigned long)iw->swa_frames, (unsigned long)iw->frames,
                   (unsigned long)iw->swa_changes, (unsigned long)iw->swa);
        } else {
            s = DS_END;                          /* no IBUS line: "---" in this pass */
            printf("---\r\n");
        }
    } else {
        printf("---\r\n");
    }
    _ds_step = (s >= DS_END) ? -1 : s + 1;
}
/* USER CODE END 0 */

int main(void)
{

  /* USER CODE BEGIN 1 */
  /* Instruction cache on (05/11, Liam: "Duyet bat I-cache"): code runs from
   * flash at 480 MHz; without the I-cache the PWMCapture read window was
   * 19.2 us at best (PWM_CAPTURE/2026-11-05_run02), M23 needs below about
   * 7 us. D-cache stays OFF: the DMA rings and SPI buffers in AXI SRAM rely
   * on it (pwm_capture.c, spi1_handler.c). To do in CubeMX later: Cortex-M7
   * > CPU ICache = Enabled, then drop this line. */
  SCB_EnableICache();
  /* USER CODE END 1 */

  /* MCU Configuration--------------------------------------------------------*/

  /* Reset of all peripherals, Initializes the Flash interface and the Systick. */
  HAL_Init();

  /* Configure the system clock */
  SystemClock_Config();

  /* Initialize all configured peripherals */
  MX_DMA_Init();
  MX_GPIO_Init();
  MX_USART3_UART_Init();
  MX_TIM1_Init();
  MX_TIM2_Init();
  MX_TIM3_Init();
  MX_TIM4_Init();
  MX_SPI1_Init();
  MX_TIM5_Init();
  MX_TIM15_Init();
  MX_TIM16_Init();
  MX_TIM17_Init();
  MX_USART2_UART_Init();
  MX_SPI4_Init();
  MX_TIM6_Init();
  MX_UART4_Init();
  MX_TIM8_Init();
  /* USER CODE BEGIN 2 */

  /* Capture timers: no interrupt since 04/11 (DMA capture, pwm_capture.h).
   * CubeMX MspInit still enables these NVIC lines; keep them off. */
  HAL_NVIC_DisableIRQ(TIM5_IRQn);
  HAL_NVIC_DisableIRQ(TIM15_IRQn);
  HAL_NVIC_DisableIRQ(TIM16_IRQn);
  HAL_NVIC_DisableIRQ(TIM17_IRQn);

  setvbuf(stdout, NULL, _IONBF, 0);

  printf("\r\n--- H753 HIL boot ---\r\n");
  printf("#fw sha=%s dirty=%d env=%s\r\n", FW_GIT_SHA, (int)FW_GIT_DIRTY, FW_ENV);   /* firmware id */
  printf("pclk1=%lu  pclk2=%lu\r\n",
         HAL_RCC_GetPCLK1Freq(), HAL_RCC_GetPCLK2Freq());

  /* S06: cycle counter and log ring before the first SPI1 frame can be
   * stamped (BnoPort_Init no longer zeroes CYCCNT) */
  CoreDebug->DEMCR |= CoreDebug_DEMCR_TRCENA_Msk;
  DWT->LAR = 0xC5ACCE55u;              /* unlock DWT (Cortex-M7), as in BnoPort_Init */
  DWT->CTRL |= DWT_CTRL_CYCCNTENA_Msk;
  S06Log_Init();

  EncoderGen_Init(&htim1, &htim2, &htim3, &htim4);
#ifdef ENCODER_GEN_HAS_EVENT_HOOK
  EncoderGen_SetEventHook(_s06_enc_event);
#endif
  SPI1_Handler_Init(&hspi1);
  UartRelay_Init(&huart2);     /* +++ NEW */

  PWMCapture_Init(&htim5, &htim8, &htim15, &htim16, &htim17);
  printf("BNO: emulator on SPI4 (INT PG2, RST PG3), TIM6 tick\r\n");
  BnoPort_Init(&hspi4, &htim6);
  if (IbusPort_Init(UART4))
    printf("IBUS: UART4 TX PD1, frame every %u us while the SPI1 link is up (stop after %u ms without a frame); SWA from MOSI byte 20 bit 3 (I8), off at boot\r\n",
           (unsigned)IBUS_GEN_PERIOD_US, (unsigned)IBUS_LINK_TIMEOUT_MS);
  else
    printf("IBUS: UART4 not set up (add it in CubeMX), iBUS off\r\n");
  printf("Init done, entering main loop\r\n");
  /* USER CODE END 2 */

  /* Infinite loop */
  /* USER CODE BEGIN WHILE */
  static uint32_t _dbg_last = 0;
  static uint32_t _last_frame_ms = 0;
  static uint8_t  _link_up = 0;        /* 0 until the first frame */
  /* Clock check (27/10): first-frame tick and frame count of the current
   * link-up period. The RPi5 sends one frame per 1 ms of its own clock, so
   * N frames span N-1 Pi ms; compare with the H7 ms printed at link lost. */
  static uint32_t _up_first_ms = 0;
  static uint32_t _up_first_frames = 0;
  static uint32_t _n_link_lost = 0;
  static uint32_t _down_restart_ms = 0;
  static uint32_t _n_down_restarts = 0;   /* restarts requested while down */
  /* S06 T1 (V4): frames applied by this loop, frames received but never
   * applied (overwritten before the loop read them, from the frame count),
   * largest state age callback -> applied */
  static uint32_t _n_applied = 0, _n_skipped = 0, _age_max_us = 0;
  static uint32_t _last_applied_nf = 0;
  /* L100: replies staged (MISO status bits 1-6), saturated apply windows
   * since boot, shortest / longest SetOmega x4 window in cycles per block */
  static uint32_t _n_stage = 0, _n_pre_sat = 0, _n_dur_sat = 0;
  static uint32_t _ap_min_cyc = 0xFFFFFFFFu, _ap_max_cyc = 0u;
  /* RS-4 P1 (48-byte frame; rule "H7 code with time limits"): shortest /
   * longest MOSI checksum (48 bytes) and SPI1_SetOutputEx() (MISO v6 encode,
   * checksum over 46 bytes, staging) per block, in cycles ("Frm6:" line) */
  static uint32_t _crc_min_cyc = 0xFFFFFFFFu, _crc_max_cyc = 0u;
  static uint32_t _set_min_cyc = 0xFFFFFFFFu, _set_max_cyc = 0u;
  const uint32_t cyc_per_us = SystemCoreClock / 1000000u;
  /* S06 T10: cost of the S06_IRQ_ENTER/EXIT pair; then (W10) the cost of one
   * idle pass, measured on this very loop with every interrupt masked for
   * 100 ms (no frame, no tick, so every pass is idle). Debug print turns
   * non-blocking after that. */
  static uint32_t _t10_last = 0;
  static uint8_t  _t10_pend = 0;       /* T10 window taken, lines not all printed */
  /* debug block state, kept across blocks (were statics inside the block) */
  static uint32_t _edges_last[PWM_NUM_CHANNELS];
  static uint32_t _pwm_dbg_ms = 0;
  static uint32_t _fw_dbg_ms = 0;    /* #fw line every 10 s in the debug block */
  static uint32_t _frames_last = 0;
  static uint32_t _ibus_win_last = 0;
  static ibus_swa_filter_t _swa_f;     /* I8-3: SWA only after 3 frames in a row agree */
  ibus_swa_filter_reset(&_swa_f);
  S06Load_CalibrateOverhead();
  uint8_t  _cal_on = 1;
  _dbg_last = _t10_last = HAL_GetTick();
  __disable_irq();
  uint32_t _cal_t0 = DWT->CYCCNT;
  uint32_t _cal_idle0 = S06Load_IdleCount();

  while (1)
  {
    uint32_t _pass_t0 = DWT->CYCCNT;   /* L51: pass time, "Loop:" line */
    uint8_t _busy = 0;
    uint8_t _prn = 0;                  /* this pass did debug work */
    PWMCapture_Service();     /* read new PWM captures every pass (04/11, DMA) */
    if (_cal_on && (DWT->CYCCNT - _cal_t0) >= SystemCoreClock / 10u) {
        S06Load_SetIdleCal(S06Load_IdleCount() - _cal_idle0, DWT->CYCCNT - _cal_t0);
        _cal_on = 0;
        HAL_NVIC_SetPriority(USART3_IRQn, 10, 0);   /* below every other handler */
        HAL_NVIC_EnableIRQ(USART3_IRQn);
        _dbg_async = 1;
        __enable_irq();
        _busy = 1;
    }
    if (SPI1_IsFrameReady()) {
        _busy = 1;
        /* I8-4, I8-R2-1: a link timeout seen by the TIM6 tick starts the SWA
         * filter again, also when this loop never saw the link as lost (the
         * tick may time out first). Only a real timeout does: a shorter gap
         * keeps the filter, so it cannot make an SWA-off pulse. */
        if (IbusPort_TakeTimeout())
            ibus_swa_filter_reset(&_swa_f);
        _last_frame_ms = HAL_GetTick();
        if (!_link_up) {
            SPI1_Stats_t s0;
            SPI1_GetStats(&s0);
            _link_up = 1;
            IbusPort_SetEnabled(1);
            _up_first_ms = s0.last_frame_ms;
            _up_first_frames = s0.frames;
            printf("SPI link up at t=%lu ms\r\n", (unsigned long)_up_first_ms);
        }
        SPI1_FrameInfo_t fi;
        SPI1_GetFrameEx(&g_state, &g_traj, &fi);   /* one frame; clears frame_ready */
        /* L100 (Codex RS4-R4-1): CYCCNT right before the first and right after
         * the last SetOmega, so every speed of this frame took effect inside
         * [c_pre, c_post] even when an interrupt lands in between */
        uint32_t c_pre = DWT->CYCCNT;
        for (int i = 0; i < ENC_NUM_WHEELS; i++)
            EncoderGen_SetOmega(i, g_state.omega[i]);
        uint32_t c_post = DWT->CYCCNT;
        /* I8: the RPi5 holds the RC switch SWA; used from the next iBUS frame,
         * after IBUS_SWA_FILTER_N applied frames in a row agree (I8-3) */
        IbusPort_SetSwa(ibus_swa_filter_step(&_swa_f, (g_state.fault_flags & HIL_CMD_SWA_ON) != 0u));
        /* MISO v5 apply window (hil_protocol.h): pre_us rounded down, the end
         * rounded up, so rx + [pre_us, pre_us + 4 dur4] holds [c_pre, c_post];
         * plus the checksum of the raw bytes of this very copy (W3, Y9) */
        uint8_t pre_sat, dur_sat;
        SPI1_MisoInfo_t mi;
        mi.apply = SPI1_PackApply(fi.rx_cyc, c_pre, c_post, cyc_per_us, &pre_sat, &dur_sat);
        _n_pre_sat += pre_sat;
        _n_dur_sat += dur_sat;
        uint32_t ap_cyc = c_post - c_pre;
        if (ap_cyc < _ap_min_cyc) _ap_min_cyc = ap_cyc;
        if (ap_cyc > _ap_max_cyc) _ap_max_cyc = ap_cyc;
        uint32_t age_us = (c_post - fi.rx_cyc) / cyc_per_us;   /* receive -> after the last SetOmega (T1 age_max) */
        uint32_t c_crc = DWT->CYCCNT;
        mi.mosi_crc = S06_Crc16(0xFFFFu, fi.raw, SPI1_FRAME_LEN);
        c_crc = DWT->CYCCNT - c_crc;
        if (c_crc < _crc_min_cyc) _crc_min_cyc = c_crc;
        if (c_crc > _crc_max_cyc) _crc_max_cyc = c_crc;
        mi.rx_cyc   = fi.rx_cyc;
        mi.rx_nf    = fi.rx_nf;
        /* v6 (RS-4 P1): run_id + frame_no of this very copy go back to the Pi,
         * so the reply names its frame (assumption B1 of hil_edge_map.py) */
        memcpy(mi.id, &fi.raw[HIL_MOSI_ID], HIL_MOSI_ID_LEN);
        if (_n_applied > 0u && fi.rx_nf > _last_applied_nf + 1u)
            _n_skipped += fi.rx_nf - _last_applied_nf - 1u;
        _last_applied_nf = fi.rx_nf;
        _n_applied++;
        if (age_us > _age_max_us) _age_max_us = age_us;

        /* Relay the latched VALID|NEW setpoint (also one from a frame this
         * loop did not see), not just the flags of the latest frame */
        HIL_TrajRef_t relay_traj;
        if (SPI1_TakeNewTraj(&relay_traj, NULL))
            UartRelay_Send(&relay_traj);

        /* Read PWM duty → pack into output torque for RPi5 */
        float duty[4];
        PWMCapture_GetDuty(duty);
        for (int i = 0; i < 4; i++)
            g_output.torque[i] = duty[i];

        g_output.seq = g_state.seq;
        /* I8: what the H7 really sends, for the RPi5 frame log; v5 (L100,
         * Codex RS4-R4-2): replies staged mod 64, one per applied frame, so a
         * reply replaced before the DMA took it shows as a gap on the Pi */
        _n_stage++;
        g_output.status = (uint8_t)((IbusPort_LastSwa() ? HIL_STATUS_SWA : 0u)
                                    | ((_n_stage << HIL_STATUS_STAGE_SHIFT) & HIL_STATUS_STAGE_MASK)
                                    | HIL_STATUS_V5);
        uint32_t c_set = DWT->CYCCNT;
        SPI1_SetOutputEx(&g_output, &mi);
        c_set = DWT->CYCCNT - c_set;
        if (c_set < _set_min_cyc) _set_min_cyc = c_set;
        if (c_set > _set_max_cyc) _set_max_cyc = c_set;

        HAL_GPIO_TogglePin(GPIOE, GPIO_PIN_1);
    } else if (_link_up && (HAL_GetTick() - _last_frame_ms) > SPI_LINK_TIMEOUT_MS) {
        _busy = 1;
        _link_up = 0;
        _n_link_lost++;
        IbusPort_SetEnabled(0);  /* DUT loses RC -> motors off (S06 T12 (d)) */
        IbusPort_SetSwa(0);      /* I8: after reconnect SWA stays off until the RPi5 sets it */
        ibus_swa_filter_reset(&_swa_f);
        for (int i = 0; i < ENC_NUM_WHEELS; i++)
            EncoderGen_SetOmega(i, 0.0f);
        SPI1_DropNewTraj();      /* no old setpoint relayed after reconnect */
        SPI1_RequestRestart();   /* covers a DMA stuck without an error */
        _down_restart_ms = HAL_GetTick();
        SPI1_Stats_t s1;
        SPI1_GetStats(&s1);
        printf("SPI link lost (no frame for %lu ms): encoders stopped, iBUS stopped, SPI1 restart\r\n",
               (unsigned long)SPI_LINK_TIMEOUT_MS);
        /* Clock check: H7 ms between the first and the last frame of this
         * period vs frame intervals (= Pi ms at 1 kHz) */
        printf("Link period: %lu frames, H7 %lu ms from first to last frame (Pi: %lu ms at 1 kHz)\r\n",
               (unsigned long)(s1.frames - _up_first_frames + 1u),
               (unsigned long)(s1.last_frame_ms - _up_first_ms),
               (unsigned long)(s1.frames - _up_first_frames));
    } else if (!_link_up && _n_link_lost > 0u
               && (HAL_GetTick() - _down_restart_ms) >= SPI_DOWN_RESTART_MS) {
        _busy = 1;
        _down_restart_ms = HAL_GetTick();
        _n_down_restarts++;
        SPI1_RequestRestart();
    }
    SPI1_Service();

    /* Debug block (08/11, L51): copy every counter once when due and the
     * printer is idle, then print one line per pass (_dbg_print_next) */
    if (_ds_step < 0 && !_t10_pend && (HAL_GetTick() - _dbg_last) >= 500) {
        _busy = 1;
        _prn = 1;
        _dbg_last = HAL_GetTick();
        _dbg_snap_t *d = &_ds;
        EncoderGen_GetDebug(d->enc);
        PWMCapture_GetDuty(d->duty);
        uint32_t pwm_el = HAL_GetTick() - _pwm_dbg_ms;
        d->pwm_line = (pwm_el >= 2000u);
        d->fw_line = (uint8_t)((HAL_GetTick() - _fw_dbg_ms) >= 10000u);
        if (d->fw_line) _fw_dbg_ms = HAL_GetTick();
        if (d->pwm_line) {
            _pwm_dbg_ms += pwm_el;
            PWMCapture_GetStats(&d->ps);
            for (int i = 0; i < (int)PWM_NUM_CHANNELS; i++) {
                d->pwm_es[i] = (uint32_t)((uint64_t)(d->ps.edges[i] - _edges_last[i]) * 1000u / pwm_el);
                _edges_last[i] = d->ps.edges[i];
            }
            PWMCapture_TakeTiming(&d->win_t, &d->svc_t);
            PWMCapture_TakeWinHist(d->wh, &d->wmin_t);
        }
        UartRelay_GetStats(&d->relay_sent, &d->relay_dropped);
        d->traj = g_traj;
        SPI1_GetStats(&d->ss);
        d->frames_per_s = (d->ss.frames - _frames_last) * 2u;
        _frames_last = d->ss.frames;
        d->link_up = _link_up;
        d->n_link_lost = _n_link_lost;
        SPI1_TakeServiceCycles(&d->svc_min, &d->svc_max);
        d->n_down_restarts = _n_down_restarts;
        d->cyc_per_us = cyc_per_us;
        d->n_applied = _n_applied;
        d->n_skipped = _n_skipped;
        d->age_max_us = _age_max_us;
        d->ap_min = (_ap_min_cyc == 0xFFFFFFFFu) ? 0u : _ap_min_cyc;
        d->ap_max = _ap_max_cyc;
        _ap_min_cyc = 0xFFFFFFFFu; _ap_max_cyc = 0u;
        SPI1_TakeCallbackCycles(&d->cb_min, &d->cb_max);
        d->crc_min = (_crc_min_cyc == 0xFFFFFFFFu) ? 0u : _crc_min_cyc;
        d->crc_max = _crc_max_cyc;
        d->set_min = (_set_min_cyc == 0xFFFFFFFFu) ? 0u : _set_min_cyc;
        d->set_max = _set_max_cyc;
        _crc_min_cyc = _set_min_cyc = 0xFFFFFFFFu;
        _crc_max_cyc = _set_max_cyc = 0u;
        d->n_stage = _n_stage; d->n_pre_sat = _n_pre_sat; d->n_dur_sat = _n_dur_sat;
        d->s06_pushed = S06Log_Pushed();
        d->s06_dropped = S06Log_Dropped();
        d->dbg_drop = _dbg_drop;
        BnoPort_GetStats(&d->bs);
        d->ibus_new = (uint8_t)(IbusPort_ReadWindow(&d->iw) && d->iw.window != _ibus_win_last);
        if (d->ibus_new) _ibus_win_last = d->iw.window;
        d->lp_max = _lp_max;   d->lp_prn_max = _lp_prn_max;
        d->lp_n500 = _lp_n500; d->lp_n1ms = _lp_n1ms; d->lp_n = _lp_n;
        _lp_max = _lp_prn_max = _lp_n500 = _lp_n1ms = _lp_n = 0u;
        _ds_step = DS_W1;

        HAL_GPIO_TogglePin(GPIOB, GPIO_PIN_0);
    }
    if ((HAL_GetTick() - _t10_last) >= 10000u) {   /* S06 T10, every 10 s */
        _busy = 1;
        _prn = 1;
        _t10_last = HAL_GetTick();
        S06Load_Snapshot();      /* window taken on time, lines printed below */
        _t10_pend = 1;
    }
    /* At most one debug line per pass, and none while an SPI1 frame waits
     * (next pass handles the frame first). T10 lines once the block is out. */
    if (!_prn && !SPI1_IsFrameReady()) {
        if (_ds_step >= 0) {
            _busy = 1;
            _prn = 1;
            _dbg_print_next();
        } else if (_t10_pend) {
            _busy = 1;
            _prn = 1;
            if (!S06Load_PrintNext()) _t10_pend = 0;
        }
    }
    if (!_busy) S06Load_CountIdle();   /* W10: idle pass (an SPI1 rearm counts as idle) */
    {                                  /* L51: pass time (interrupts included) */
        uint32_t dt = DWT->CYCCNT - _pass_t0;
        _lp_n++;
        if (dt > _lp_max) _lp_max = dt;
        if (_prn && dt > _lp_prn_max) _lp_prn_max = dt;
        if (dt > 500u * cyc_per_us) _lp_n500++;
        if (dt > 1000u * cyc_per_us) _lp_n1ms++;
    }
    /* USER CODE END WHILE */

  }
}

void SystemClock_Config(void)
{
  RCC_OscInitTypeDef RCC_OscInitStruct = {0};
  RCC_ClkInitTypeDef RCC_ClkInitStruct = {0};

  /** Supply configuration update enable
  */
  HAL_PWREx_ConfigSupply(PWR_LDO_SUPPLY);

  /** Configure the main internal regulator output voltage
  */
  __HAL_PWR_VOLTAGESCALING_CONFIG(PWR_REGULATOR_VOLTAGE_SCALE0);

  while(!__HAL_PWR_GET_FLAG(PWR_FLAG_VOSRDY)) {}

  /** Initializes the RCC Oscillators according to the specified parameters
  * in the RCC_OscInitTypeDef structure.
  */
  RCC_OscInitStruct.OscillatorType = RCC_OSCILLATORTYPE_HSE;
  RCC_OscInitStruct.HSEState = RCC_HSE_BYPASS;
  RCC_OscInitStruct.PLL.PLLState = RCC_PLL_ON;
  RCC_OscInitStruct.PLL.PLLSource = RCC_PLLSOURCE_HSE;
  RCC_OscInitStruct.PLL.PLLM = 1;
  RCC_OscInitStruct.PLL.PLLN = 192;
  RCC_OscInitStruct.PLL.PLLP = 2;
  RCC_OscInitStruct.PLL.PLLQ = 5;
  RCC_OscInitStruct.PLL.PLLR = 2;
  RCC_OscInitStruct.PLL.PLLRGE = RCC_PLL1VCIRANGE_2;
  RCC_OscInitStruct.PLL.PLLVCOSEL = RCC_PLL1VCOWIDE;
  RCC_OscInitStruct.PLL.PLLFRACN = 0;
  if (HAL_RCC_OscConfig(&RCC_OscInitStruct) != HAL_OK)
  {
    Error_Handler();
  }

  /** Initializes the CPU, AHB and APB buses clocks
  */
  RCC_ClkInitStruct.ClockType = RCC_CLOCKTYPE_HCLK|RCC_CLOCKTYPE_SYSCLK
                              |RCC_CLOCKTYPE_PCLK1|RCC_CLOCKTYPE_PCLK2
                              |RCC_CLOCKTYPE_D3PCLK1|RCC_CLOCKTYPE_D1PCLK1;
  RCC_ClkInitStruct.SYSCLKSource = RCC_SYSCLKSOURCE_PLLCLK;
  RCC_ClkInitStruct.SYSCLKDivider = RCC_SYSCLK_DIV1;
  RCC_ClkInitStruct.AHBCLKDivider = RCC_HCLK_DIV2;
  RCC_ClkInitStruct.APB3CLKDivider = RCC_APB3_DIV2;
  RCC_ClkInitStruct.APB1CLKDivider = RCC_APB1_DIV2;
  RCC_ClkInitStruct.APB2CLKDivider = RCC_APB2_DIV2;
  RCC_ClkInitStruct.APB4CLKDivider = RCC_APB4_DIV2;

  if (HAL_RCC_ClockConfig(&RCC_ClkInitStruct, FLASH_LATENCY_4) != HAL_OK)
  {
    Error_Handler();
  }
}

/* USER CODE BEGIN 4 */
/* HAL_TIM_IC_CaptureCallback removed 04/11: PWM capture uses DMA, no capture interrupt */
/* USER CODE END 4 */

void Error_Handler(void)
{
  __disable_irq();
  while (1) {}
}
